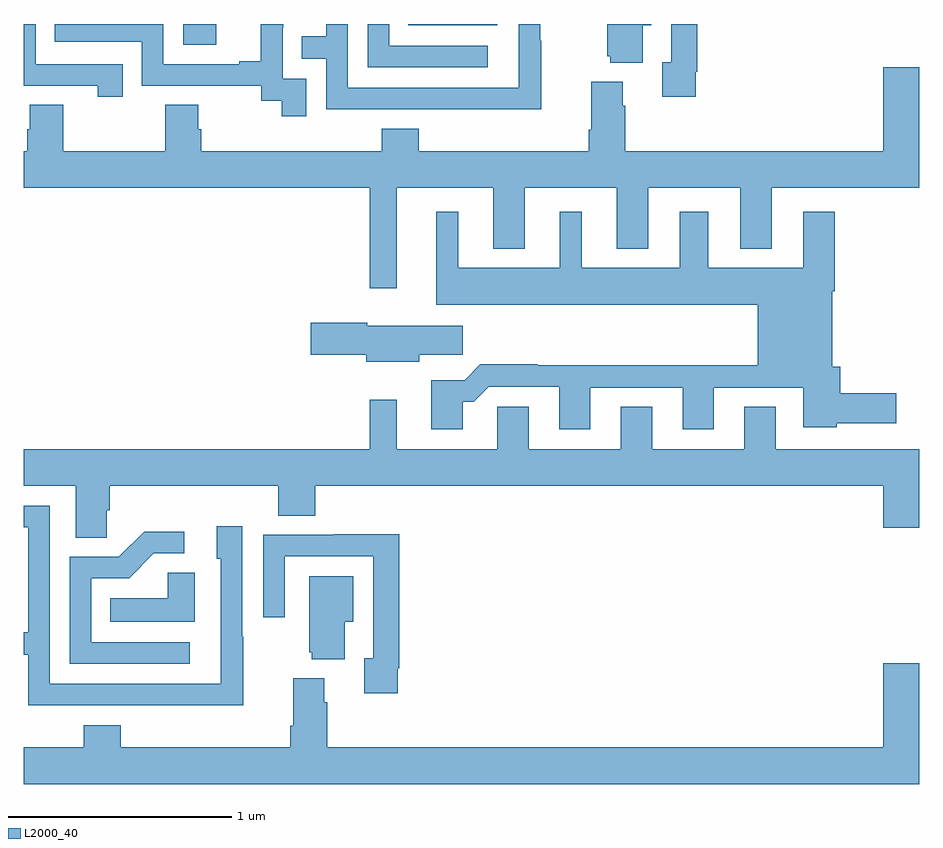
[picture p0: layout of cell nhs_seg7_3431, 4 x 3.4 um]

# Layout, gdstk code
import gdstk
lib = gdstk.Library(unit=1e-6, precision=1e-09)
def R(c, l, rs):  # rectangles x0, y0, x1, y1
    for r in rs: c.add(gdstk.rectangle(r[:2], r[2:], *l))
def P(c, l, *ps):  # polygons
    for p in ps: c.add(gdstk.Polygon(p, *l))
L2000_40 = (2000, 40)

nhs_seg7_3431 = lib.new_cell('nhs_seg7_3431')
R(nhs_seg7_3431, L2000_40, [(329.712,1015.908,329.86,1016), (330.718,1015.994,331.114,1016)])
P(nhs_seg7_3431, L2000_40, [(331.765,1015.994),(331.804,1015.994),(331.804,1016),(331.607,1016),(331.607,1015.857),(331.619,1015.857),(331.619,1015.826),(331.765,1015.826)],
  [(331.072,1015.902),(330.633,1015.902),(330.633,1016),(330.537,1016),(330.537,1015.806),(331.072,1015.806)],
  [(331.311,1015.925),(331.308,1015.925),(331.308,1016),(331.212,1016),(331.212,1015.97),(331.211,1015.97),(331.211,1015.716),(330.447,1015.716),(330.447,1016),(330.351,1016),(330.351,1015.946),(330.241,1015.946),(330.241,1015.845),(330.351,1015.845),(330.351,1015.62),(330.847,1015.62),(330.847,1015.619),(331.311,1015.619)],
  [(332.002,1015.786),(332.009,1015.786),(332.009,1016),(331.893,1016),(331.893,1015.83),(331.853,1015.83),(331.853,1015.674),(332.002,1015.674)],
  [(330.261,1015.755),(330.156,1015.755),(330.156,1015.985),(330.158,1015.985),(330.158,1016),(330.059,1016),(330.059,1015.834),(329.963,1015.834),(329.963,1015.821),(329.622,1015.821),(329.622,1016),(329.137,1016),(329.137,1015.92),(329.526,1015.92),(329.526,1015.725),(330.06,1015.725),(330.06,1015.657),(330.153,1015.657),(330.153,1015.587),(330.261,1015.587)],
  [(329.441,1015.821),(329.052,1015.821),(329.052,1016),(329,1016),(329,1015.725),(329.33,1015.725),(329.33,1015.674),(329.441,1015.674)],
  [(330.667,1015.268),(331.097,1015.268),(331.097,1014.995),(331.237,1014.995),(331.237,1015.268),(331.649,1015.268),(331.649,1014.995),(331.789,1014.995),(331.789,1015.268),(332.201,1015.268),(332.201,1014.995),(332.341,1014.995),(332.341,1015.268),(333,1015.268),(333,1015.807),(332.84,1015.807),(332.84,1015.432),(331.688,1015.432),(331.688,1015.634),(331.675,1015.634),(331.675,1015.741),(331.535,1015.741),(331.535,1015.528),(331.523,1015.528),(331.523,1015.432),(330.764,1015.432),(330.764,1015.531),(330.599,1015.531),(330.599,1015.432),(329.792,1015.432),(329.792,1015.53),(329.779,1015.53),(329.779,1015.64),(329.632,1015.64),(329.632,1015.432),(329.175,1015.432),(329.175,1015.64),(329.027,1015.64),(329.027,1015.53),(329.015,1015.53),(329.015,1015.432),(329,1015.432),(329,1015.268),(330.546,1015.268),(330.546,1014.819),(330.667,1014.819)],
  [(330.961,1014.311),(331.01,1014.311),(331.077,1014.378),(331.391,1014.378),(331.391,1014.189),(331.531,1014.189),(331.531,1014.375),(331.943,1014.375),(331.943,1014.189),(332.083,1014.189),(332.083,1014.375),(332.483,1014.375),(332.483,1014.197),(332.631,1014.197),(332.631,1014.215),(332.899,1014.215),(332.899,1014.35),(332.648,1014.35),(332.648,1014.468),(332.611,1014.468),(332.611,1014.806),(332.624,1014.806),(332.624,1015.162),(332.483,1015.162),(332.483,1014.91),(332.059,1014.91),(332.059,1015.162),(331.931,1015.162),(331.931,1014.91),(331.492,1014.91),(331.492,1015.162),(331.394,1015.162),(331.394,1014.91),(330.94,1014.91),(330.94,1015.162),(330.842,1015.162),(330.842,1014.746),(332.279,1014.746),(332.279,1014.476),(331.295,1014.476),(331.295,1014.479),(331.04,1014.479),(330.97,1014.409),(330.821,1014.409),(330.821,1014.189),(330.961,1014.189)],
  [(330.766,1014.523),(330.961,1014.523),(330.961,1014.652),(330.534,1014.652),(330.534,1014.665),(330.282,1014.665),(330.282,1014.523),(330.53,1014.523),(330.53,1014.491),(330.766,1014.491)],
  [(329.37,1013.827),(329.384,1013.827),(329.384,1013.936),(330.137,1013.936),(330.137,1013.803),(330.302,1013.803),(330.302,1013.936),(332.84,1013.936),(332.84,1013.748),(333,1013.748),(333,1014.1),(332.359,1014.1),(332.359,1014.29),(332.219,1014.29),(332.219,1014.1),(331.807,1014.1),(331.807,1014.29),(331.667,1014.29),(331.667,1014.1),(331.255,1014.1),(331.255,1014.29),(331.116,1014.29),(331.116,1014.1),(330.667,1014.1),(330.667,1014.322),(330.546,1014.322),(330.546,1014.1),(329,1014.1),(329,1013.936),(329.231,1013.936),(329.231,1013.704),(329.37,1013.704)],
  [(329.979,1013.261),(329.976,1013.261),(329.976,1013.755),(329.861,1013.755),(329.861,1013.61),(329.88,1013.61),(329.88,1013.052),(329.115,1013.052),(329.115,1013.847),(329,1013.847),(329,1013.751),(329.019,1013.751),(329.019,1013.282),(329,1013.282),(329,1013.181),(329.019,1013.181),(329.019,1012.956),(329.515,1012.956),(329.515,1012.955),(329.979,1012.955)],
  [(329.74,1013.238),(329.301,1013.238),(329.301,1013.523),(329.47,1013.523),(329.581,1013.634),(329.716,1013.634),(329.716,1013.732),(329.537,1013.732),(329.424,1013.619),(329.205,1013.619),(329.205,1013.142),(329.74,1013.142)],
  [(330.67,1013.122),(330.677,1013.122),(330.677,1013.72),(330.385,1013.72),(330.385,1013.718),(330.069,1013.718),(330.069,1013.349),(330.165,1013.349),(330.165,1013.622),(330.561,1013.622),(330.561,1013.166),(330.521,1013.166),(330.521,1013.01),(330.67,1013.01)],
  [(329.764,1013.549),(329.643,1013.549),(329.643,1013.434),(329.386,1013.434),(329.386,1013.33),(329.764,1013.33)],
  [(330.433,1013.33),(330.472,1013.33),(330.472,1013.533),(330.275,1013.533),(330.275,1013.193),(330.287,1013.193),(330.287,1013.162),(330.433,1013.162)],
  [(333,1013.143),(332.84,1013.143),(332.84,1012.768),(330.356,1012.768),(330.356,1012.97),(330.343,1012.97),(330.343,1013.077),(330.203,1013.077),(330.203,1012.864),(330.191,1012.864),(330.191,1012.768),(329.432,1012.768),(329.432,1012.867),(329.267,1012.867),(329.267,1012.768),(329,1012.768),(329,1012.604),(333,1012.604)])

lib.write_gds('nhs_seg7_3431.gds')
